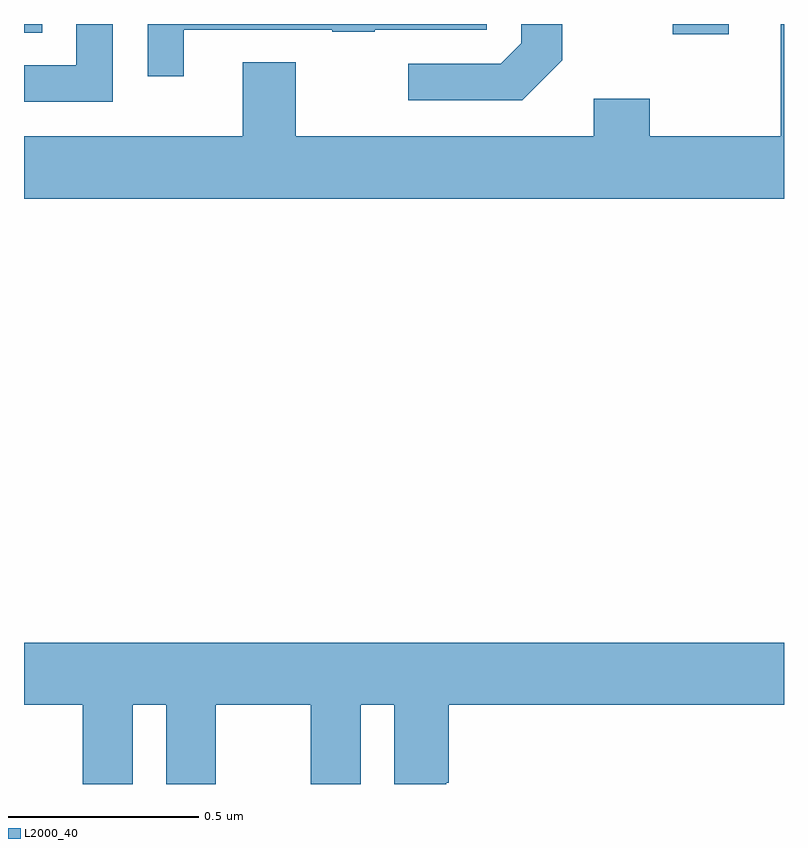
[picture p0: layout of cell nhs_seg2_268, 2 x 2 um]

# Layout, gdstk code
import gdstk
lib = gdstk.Library(unit=1e-6, precision=1e-09)
def R(c, l, rs):  # rectangles x0, y0, x1, y1
    for r in rs: c.add(gdstk.rectangle(r[:2], r[2:], *l))
def P(c, l, *ps):  # polygons
    for p in ps: c.add(gdstk.Polygon(p, *l))
L2000_40 = (2000, 40)

nhs_seg2_268 = lib.new_cell('nhs_seg2_268')
R(nhs_seg2_268, L2000_40, [(115.707,610.773,115.855,610.8), (114,610.777,114.048,610.8)])
P(nhs_seg2_268, L2000_40, [(116,610.8),(115.991,610.8),(115.991,610.504),(115.647,610.504),(115.647,610.603),(115.499,610.603),(115.499,610.504),(114.715,610.504),(114.715,610.699),(114.575,610.699),(114.575,610.504),(114,610.504),(114,610.34),(116,610.34)],
  [(114.421,610.785),(114.811,610.785),(114.811,610.78),(114.923,610.78),(114.923,610.785),(115.218,610.785),(115.218,610.8),(114.325,610.8),(114.325,610.662),(114.421,610.662)],
  [(114.234,610.8),(114.138,610.8),(114.138,610.692),(114,610.692),(114,610.596),(114.234,610.596)],
  [(115.417,610.705),(115.417,610.8),(115.308,610.8),(115.308,610.749),(115.254,610.695),(115.011,610.695),(115.011,610.599),(115.311,610.599)],
  [(114.286,609.008),(114.374,609.008),(114.374,608.8),(114.505,608.8),(114.505,609.008),(114.755,609.008),(114.755,608.8),(114.886,608.8),(114.886,609.008),(114.974,609.008),(114.974,608.8),(115.111,608.8),(115.111,608.803),(115.118,608.803),(115.118,609.008),(116,609.008),(116,609.172),(114,609.172),(114,609.008),(114.155,609.008),(114.155,608.8),(114.286,608.8)])

lib.write_gds('nhs_seg2_268.gds')
